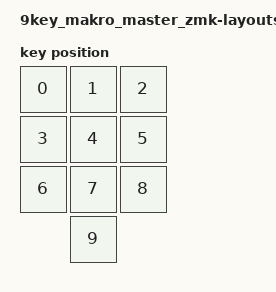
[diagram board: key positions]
#include <physical_layouts.dtsi>

/ {
    physical_layout0: physical_layout_0 {
        compatible = "zmk,physical-layout";
        display-name = "Default";
        transform = <&default_transform>;
        keys = <
            &key_physical_attrs 100 100   0   0 0 0 0
            &key_physical_attrs 100 100 100   0 0 0 0
            &key_physical_attrs 100 100 200   0 0 0 0
            &key_physical_attrs 100 100   0 100 0 0 0
            &key_physical_attrs 100 100 100 100 0 0 0
            &key_physical_attrs 100 100 200 100 0 0 0
            &key_physical_attrs 100 100   0 200 0 0 0
            &key_physical_attrs 100 100 100 200 0 0 0
            &key_physical_attrs 100 100 200 200 0 0 0
            &key_physical_attrs 100 100 100 300 0 0 0
        >;
    };
};
